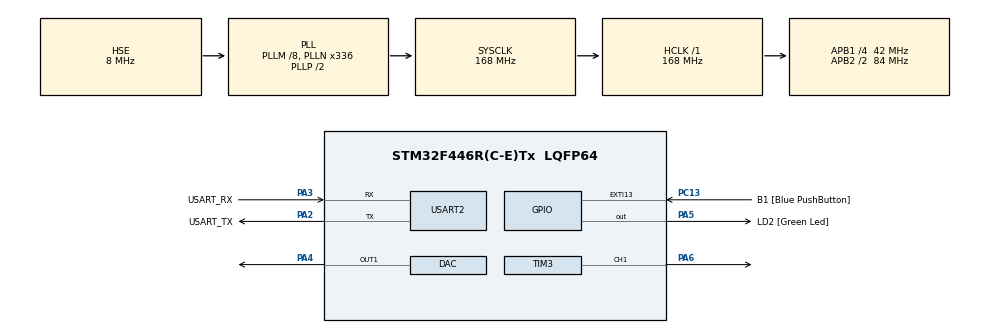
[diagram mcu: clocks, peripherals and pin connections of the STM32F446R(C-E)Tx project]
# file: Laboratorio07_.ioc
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Dma.DAC1.0.Direction=DMA_MEMORY_TO_PERIPH
Dma.DAC1.0.FIFOMode=DMA_FIFOMODE_DISABLE
Dma.DAC1.0.Instance=DMA1_Stream5
Dma.DAC1.0.MemDataAlignment=DMA_MDATAALIGN_HALFWORD
Dma.DAC1.0.MemInc=DMA_MINC_ENABLE
Dma.DAC1.0.Mode=DMA_CIRCULAR
Dma.DAC1.0.PeriphDataAlignment=DMA_PDATAALIGN_HALFWORD
Dma.DAC1.0.PeriphInc=DMA_PINC_DISABLE
Dma.DAC1.0.Priority=DMA_PRIORITY_HIGH
Dma.Request0=DAC1
Dma.Request1=TIM3_CH1/TRIG
Dma.TIM3_CH1/TRIG.1.Direction=DMA_PERIPH_TO_MEMORY
Dma.TIM3_CH1/TRIG.1.FIFOMode=DMA_FIFOMODE_DISABLE
Dma.TIM3_CH1/TRIG.1.Instance=DMA1_Stream4
Dma.TIM3_CH1/TRIG.1.MemDataAlignment=DMA_MDATAALIGN_HALFWORD
Dma.TIM3_CH1/TRIG.1.MemInc=DMA_MINC_ENABLE
Dma.TIM3_CH1/TRIG.1.Mode=DMA_CIRCULAR
Dma.TIM3_CH1/TRIG.1.PeriphDataAlignment=DMA_PDATAALIGN_HALFWORD
Dma.TIM3_CH1/TRIG.1.PeriphInc=DMA_PINC_DISABLE
Dma.TIM3_CH1/TRIG.1.Priority=DMA_PRIORITY_HIGH
Mcu.Family=STM32F4
Mcu.Name=STM32F446R(C-E)Tx
Mcu.Package=LQFP64
NVIC.DMA1_Stream4_IRQn=true\:0\:0\:false\:false\:true\:false\:true\:true
NVIC.DMA1_Stream5_IRQn=true\:0\:0\:false\:false\:true\:false\:true\:true
NVIC.PriorityGroup=NVIC_PRIORITYGROUP_0
NVIC.USART2_IRQn=true\:0\:0\:false\:false\:true\:true\:true\:true
PA13.GPIO_Label=TMS
PA13.Signal=SYS_JTMS-SWDIO
PA14.GPIO_Label=TCK
PA14.Signal=SYS_JTCK-SWCLK
PA2.GPIO_Label=USART_TX
PA2.Mode=Asynchronous
PA2.Signal=USART2_TX
PA3.GPIO_Label=USART_RX
PA3.Mode=Asynchronous
PA3.Signal=USART2_RX
PA4.Signal=COMP_DAC1_group
PA5.GPIO_Label=LD2 [Green Led]
PA5.Signal=GPIO_Output
PA6.Signal=S_TIM3_CH1
PB3.GPIO_Label=SWO
PB3.Signal=SYS_JTDO-SWO
PC13.GPIO_Label=B1 [Blue PushButton]
PC13.GPIO_ModeDefaultEXTI=GPIO_MODE_IT_FALLING
PC13.Signal=GPXTI13
PC14-OSC32_IN.Signal=RCC_OSC32_IN
PC15-OSC32_OUT.Signal=RCC_OSC32_OUT
PH0-OSC_IN.Mode=HSE-External-Oscillator
PH0-OSC_IN.Signal=RCC_OSC_IN
PH1-OSC_OUT.Mode=HSE-External-Oscillator
PH1-OSC_OUT.Signal=RCC_OSC_OUT
ProjectManager.HeapSize=0x200
ProjectManager.StackSize=0x400
ProjectManager.TargetToolchain=STM32CubeIDE
RCC.AHBFreq_Value=168000000
RCC.APB1CLKDivider=RCC_HCLK_DIV4
RCC.APB1Freq_Value=42000000
RCC.APB1TimFreq_Value=84000000
RCC.APB2CLKDivider=RCC_HCLK_DIV2
RCC.APB2Freq_Value=84000000
RCC.APB2TimFreq_Value=168000000
RCC.CortexFreq_Value=168000000
RCC.FLatency-AdvancedSettings=FLASH_LATENCY_5
RCC.HCLKFreq_Value=168000000
RCC.HSE_VALUE=8000000
RCC.HSI_VALUE=16000000
RCC.LSE_VALUE=32768
RCC.PLLM=8
RCC.PLLN=336
RCC.PLLSourceVirtual=RCC_PLLSOURCE_HSE
RCC.SYSCLKFreq_VALUE=168000000
RCC.SYSCLKSource=RCC_SYSCLKSOURCE_PLLCLK
RCC.USBFreq_Value=168000000
RCC.VCOOutputFreq_Value=336000000
SH.COMP_DAC1_group.0=DAC_OUT1,DAC_OUT1
SH.S_TIM3_CH1.0=TIM3_CH1,PWM Generation1 CH1
TIM3.Channel-PWM\ Generation1\ CH1=TIM_CHANNEL_1
TIM3.Period=839
TIM6.Prescaler=83
TIM6.TIM_MasterOutputTrigger=TIM_TRGO_UPDATE
USART2.VirtualMode=VM_ASYNC
VP_TIM3_VS_ClockSourceINT.Mode=Internal
VP_TIM6_VS_ClockSourceINT.Mode=Enable_Timer
board=NUCLEO-F446RE

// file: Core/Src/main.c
/* USER CODE BEGIN Header */
/**
  ******************************************************************************
  * @file           : main.c
  * @brief          : Main program body
  ******************************************************************************
  * @attention
  *
  * Copyright (c) 2026 STMicroelectronics.
  * All rights reserved.
  *
  * This software is licensed under terms that can be found in the LICENSE file
  * in the root directory of this software component.
  * If no LICENSE file comes with this software, it is provided AS-IS.
  *
  ******************************************************************************
  */
/* USER CODE END Header */
#include "main.h"

/* USER CODE BEGIN Includes */
#include <math.h>
#include <string.h>
/* USER CODE END Includes */

DAC_HandleTypeDef hdac;
DMA_HandleTypeDef hdma_dac1;

TIM_HandleTypeDef htim3;
TIM_HandleTypeDef htim6;
DMA_HandleTypeDef hdma_tim3_ch1_trig;

UART_HandleTypeDef huart2;

/* USER CODE BEGIN PV */
#define BATMAN_ext 19
const uint16_t BATMAN_notas[BATMAN_ext] = {988, 988, 932, 932, 880, 880, 932, 932, 988, 988, 932, 932, 880, 880, 932, 932, 988, 0, 988};
const uint16_t BATMAN_duracion[BATMAN_ext] = {167, 167, 167, 167, 167, 167, 167, 167, 167, 167, 167, 167, 167, 167, 167, 167, 333, 167, 333};

#define BEVERLY_LEN 23
const uint16_t BEVERLY_notas[BEVERLY_LEN] = {
    1319, 1568, 1319, 1319, 1760, 1319, 1175, 1319,
    1976, 1319, 1319, 2093, 1976, 1568, 1319, 1976,
    2637, 1319, 1175, 1175, 988, 1480, 1319
};
const uint16_t BEVERLY_duracion[BEVERLY_LEN] = {
    480, 360, 240, 120, 240, 240, 240, 480,
    360, 240, 120, 240, 240, 240, 240, 240,
    240, 120, 240, 120, 240, 240, 720
};

volatile uint8_t cmd_received = 0;
uint8_t rx_data;
/* USER CODE END PV */

void SystemClock_Config(void);
static void MX_GPIO_Init(void);
static void MX_DMA_Init(void);
static void MX_DAC_Init(void);
static void MX_USART2_UART_Init(void);
static void MX_TIM3_Init(void);
static void MX_TIM6_Init(void);

/* USER CODE BEGIN 0 */

// Retardo en microsegundos usando DWT
void DWT_Init(void) {
    CoreDebug->DEMCR |= CoreDebug_DEMCR_TRCENA_Msk;
    DWT->CYCCNT = 0;
    DWT->CTRL |= DWT_CTRL_CYCCNTENA_Msk;
}

void delay_us(uint32_t us) {
    uint32_t start = DWT->CYCCNT;
    uint32_t ticks = us * (SystemCoreClock / 1000000U);
    while ((DWT->CYCCNT - start) < ticks);
}

void Play_Tone(uint16_t freq, uint16_t duration_ms) {
    const uint32_t sample_rate = 16000;
    const uint32_t sample_period_us = 1000000 / sample_rate;
    const float amplitude = 1200.0f;                     // Amplitud reducida (evita saturación)

    if (freq == 0) {
        HAL_DAC_SetValue(&hdac, DAC_CHANNEL_1, DAC_ALIGN_12B_R, 2048);
        HAL_Delay(duration_ms);
        return;
    }

    uint32_t num_samples = ((uint32_t)duration_ms * sample_rate) / 1000U;
    for (uint32_t i = 0; i < num_samples; i++) {
        float value = sinf(2.0f * 3.14159265f * freq * i / sample_rate);
        uint16_t dac_val = (uint16_t)(2048.0f + (value * amplitude));
        HAL_DAC_SetValue(&hdac, DAC_CHANNEL_1, DAC_ALIGN_12B_R, dac_val);
        delay_us(sample_period_us);
    }
}

// Reproducir una nota con PWM 16 kHz
void Play_Tone_PWM(uint16_t freq, uint16_t duration_ms) {
    const uint32_t sample_rate = 16000;
    const uint32_t sample_period_us = 1000000 / sample_rate;
    const float amplitude = 380.0f;
    const uint16_t pwm_center = 419;

    if (freq == 0) {
        // PWM al 50%
        __HAL_TIM_SET_COMPARE(&htim3, TIM_CHANNEL_1, pwm_center);
        HAL_Delay(duration_ms);
        return;
    }

    uint32_t num_samples = ((uint32_t)duration_ms * sample_rate) / 1000U;
    for (uint32_t i = 0; i < num_samples; i++) {
        float value = sinf(2.0f * 3.14159265f * freq * i / sample_rate);
        uint16_t pwm_val = (uint16_t)((float)pwm_center + (value * amplitude));
        __HAL_TIM_SET_COMPARE(&htim3, TIM_CHANNEL_1, pwm_val);
        delay_us(sample_period_us);
    }
}

// Reproduce la melodía completa de Batman (DAC)
void Play_Melody(void) {
    HAL_GPIO_WritePin(LD2_GPIO_Port, LD2_Pin, GPIO_PIN_SET);   // LED encendido
    for (int i = 0; i < BATMAN_ext; i++) {
        Play_Tone(BATMAN_notas[i], BATMAN_duracion[i]);
    }
    HAL_GPIO_WritePin(LD2_GPIO_Port, LD2_Pin, GPIO_PIN_RESET); // LED apagado
}

// Reproduce la melodía Beverly Hills Cop (PWM)
void Play_Beverly(void) {
    HAL_GPIO_WritePin(LD2_GPIO_Port, LD2_Pin, GPIO_PIN_SET);   // LED encendido
    for (int i = 0; i < BEVERLY_LEN; i++) {
        Play_Tone_PWM(BEVERLY_notas[i], BEVERLY_duracion[i]);
    }
    HAL_GPIO_WritePin(LD2_GPIO_Port, LD2_Pin, GPIO_PIN_RESET); // LED apagado
}
/* USER CODE END 0 */

int main(void)
{

  /* MCU Configuration--------------------------------------------------------*/

  /* Reset of all peripherals, Initializes the Flash interface and the Systick. */
  HAL_Init();

  /* Configure the system clock */
  SystemClock_Config();

  /* Initialize all configured peripherals */
  MX_GPIO_Init();
  MX_DMA_Init();
  MX_DAC_Init();
  MX_USART2_UART_Init();
  MX_TIM3_Init();
  MX_TIM6_Init();
  /* USER CODE BEGIN 2 */
  DWT_Init();                                 // Inicializar DWT para delay_us
  HAL_DAC_Start(&hdac, DAC_CHANNEL_1);        // Arrancar DAC canal 1
  HAL_TIM_PWM_Start(&htim3, TIM_CHANNEL_1);   // Arrancar PWM canal 1 (TIM3 CH1 -> PA6)
  __HAL_TIM_SET_COMPARE(&htim3, TIM_CHANNEL_1, 419);
  HAL_UART_Receive_IT(&huart2, &rx_data, 1);  // Escuchar UART por interrupción

  const char *menu = "\r\n ==== LABORATORIO 07 ==== MP3 === \r\n"
                     "  '1' -> Batman (DAC)\r\n"
                     "  '2' -> Beverly Hills Cop (PWM)\r\n"
                     "Seleccionar  opcion: ";
  HAL_UART_Transmit(&huart2, (uint8_t*)menu, strlen(menu), HAL_MAX_DELAY);
  /* USER CODE END 2 */

  /* Infinite loop */
  while (1)
  {

    /* USER CODE BEGIN 3 */
    if (cmd_received) {
        cmd_received = 0;
        if (rx_data == '1') {
            Play_Melody();
            HAL_UART_Transmit(&huart2, (uint8_t*)"\r\nFin.\r\n", strlen("\r\nFin.\r\n"), HAL_MAX_DELAY);
        } else if (rx_data == '2') {
            Play_Beverly();
            HAL_UART_Transmit(&huart2, (uint8_t*)"\r\nFin.\r\n", strlen("\r\nFin.\r\n"), HAL_MAX_DELAY);
        } else {
            HAL_UART_Transmit(&huart2, (uint8_t*)"\r\nIntentalo nuevamente :(\r\n", strlen("\r\nIntentalo nuevamente :(\r\n"), HAL_MAX_DELAY);
        }
        HAL_UART_Transmit(&huart2, (uint8_t*)menu, strlen(menu), HAL_MAX_DELAY);
    }
  }
  /* USER CODE END 3 */
}

void SystemClock_Config(void)
{
  RCC_OscInitTypeDef RCC_OscInitStruct = {0};
  RCC_ClkInitTypeDef RCC_ClkInitStruct = {0};

  /** Configure the main internal regulator output voltage
  */
  __HAL_RCC_PWR_CLK_ENABLE();
  __HAL_PWR_VOLTAGESCALING_CONFIG(PWR_REGULATOR_VOLTAGE_SCALE1);

  /** Initializes the RCC Oscillators according to the specified parameters
  * in the RCC_OscInitTypeDef structure.
  */
  RCC_OscInitStruct.OscillatorType = RCC_OSCILLATORTYPE_HSE;
  RCC_OscInitStruct.HSEState = RCC_HSE_ON;
  RCC_OscInitStruct.PLL.PLLState = RCC_PLL_ON;
  RCC_OscInitStruct.PLL.PLLSource = RCC_PLLSOURCE_HSE;
  RCC_OscInitStruct.PLL.PLLM = 8;
  RCC_OscInitStruct.PLL.PLLN = 336;
  RCC_OscInitStruct.PLL.PLLP = RCC_PLLP_DIV2;
  RCC_OscInitStruct.PLL.PLLQ = 2;
  RCC_OscInitStruct.PLL.PLLR = 2;
  if (HAL_RCC_OscConfig(&RCC_OscInitStruct) != HAL_OK)
  {
    Error_Handler();
  }

  /** Initializes the CPU, AHB and APB buses clocks
  */
  RCC_ClkInitStruct.ClockType = RCC_CLOCKTYPE_HCLK|RCC_CLOCKTYPE_SYSCLK
                              |RCC_CLOCKTYPE_PCLK1|RCC_CLOCKTYPE_PCLK2;
  RCC_ClkInitStruct.SYSCLKSource = RCC_SYSCLKSOURCE_PLLCLK;
  RCC_ClkInitStruct.AHBCLKDivider = RCC_SYSCLK_DIV1;
  RCC_ClkInitStruct.APB1CLKDivider = RCC_HCLK_DIV4;
  RCC_ClkInitStruct.APB2CLKDivider = RCC_HCLK_DIV2;

  if (HAL_RCC_ClockConfig(&RCC_ClkInitStruct, FLASH_LATENCY_5) != HAL_OK)
  {
    Error_Handler();
  }
}

static void MX_DAC_Init(void)
{

  DAC_ChannelConfTypeDef sConfig = {0};

  /** DAC Initialization
  */
  hdac.Instance = DAC;
  if (HAL_DAC_Init(&hdac) != HAL_OK)
  {
    Error_Handler();
  }

  /** DAC channel OUT1 config
  */
  sConfig.DAC_Trigger = DAC_TRIGGER_NONE;
  sConfig.DAC_OutputBuffer = DAC_OUTPUTBUFFER_ENABLE;
  if (HAL_DAC_ConfigChannel(&hdac, &sConfig, DAC_CHANNEL_1) != HAL_OK)
  {
    Error_Handler();
  }

}

static void MX_TIM3_Init(void)
{

  TIM_ClockConfigTypeDef sClockSourceConfig = {0};
  TIM_MasterConfigTypeDef sMasterConfig = {0};
  TIM_OC_InitTypeDef sConfigOC = {0};

  htim3.Instance = TIM3;
  htim3.Init.Prescaler = 0;
  htim3.Init.CounterMode = TIM_COUNTERMODE_UP;
  htim3.Init.Period = 839;
  htim3.Init.ClockDivision = TIM_CLOCKDIVISION_DIV1;
  htim3.Init.AutoReloadPreload = TIM_AUTORELOAD_PRELOAD_ENABLE;
  if (HAL_TIM_Base_Init(&htim3) != HAL_OK)
  {
    Error_Handler();
  }
  sClockSourceConfig.ClockSource = TIM_CLOCKSOURCE_INTERNAL;
  if (HAL_TIM_ConfigClockSource(&htim3, &sClockSourceConfig) != HAL_OK)
  {
    Error_Handler();
  }
  if (HAL_TIM_PWM_Init(&htim3) != HAL_OK)
  {
    Error_Handler();
  }
  sMasterConfig.MasterOutputTrigger = TIM_TRGO_RESET;
  sMasterConfig.MasterSlaveMode = TIM_MASTERSLAVEMODE_DISABLE;
  if (HAL_TIMEx_MasterConfigSynchronization(&htim3, &sMasterConfig) != HAL_OK)
  {
    Error_Handler();
  }
  sConfigOC.OCMode = TIM_OCMODE_PWM1;
  sConfigOC.Pulse = 0;
  sConfigOC.OCPolarity = TIM_OCPOLARITY_HIGH;
  sConfigOC.OCFastMode = TIM_OCFAST_DISABLE;
  if (HAL_TIM_PWM_ConfigChannel(&htim3, &sConfigOC, TIM_CHANNEL_1) != HAL_OK)
  {
    Error_Handler();
  }
  HAL_TIM_MspPostInit(&htim3);

}

static void MX_TIM6_Init(void)
{

  TIM_MasterConfigTypeDef sMasterConfig = {0};

  htim6.Instance = TIM6;
  htim6.Init.Prescaler = 83;
  htim6.Init.CounterMode = TIM_COUNTERMODE_UP;
  htim6.Init.Period = 65535;
  htim6.Init.AutoReloadPreload = TIM_AUTORELOAD_PRELOAD_DISABLE;
  if (HAL_TIM_Base_Init(&htim6) != HAL_OK)
  {
    Error_Handler();
  }
  sMasterConfig.MasterOutputTrigger = TIM_TRGO_UPDATE;
  sMasterConfig.MasterSlaveMode = TIM_MASTERSLAVEMODE_DISABLE;
  if (HAL_TIMEx_MasterConfigSynchronization(&htim6, &sMasterConfig) != HAL_OK)
  {
    Error_Handler();
  }

}

static void MX_USART2_UART_Init(void)
{

  huart2.Instance = USART2;
  huart2.Init.BaudRate = 115200;
  huart2.Init.WordLength = UART_WORDLENGTH_8B;
  huart2.Init.StopBits = UART_STOPBITS_1;
  huart2.Init.Parity = UART_PARITY_NONE;
  huart2.Init.Mode = UART_MODE_TX_RX;
  huart2.Init.HwFlowCtl = UART_HWCONTROL_NONE;
  huart2.Init.OverSampling = UART_OVERSAMPLING_16;
  if (HAL_UART_Init(&huart2) != HAL_OK)
  {
    Error_Handler();
  }

}

static void MX_DMA_Init(void)
{

  /* DMA controller clock enable */
  __HAL_RCC_DMA1_CLK_ENABLE();

  /* DMA interrupt init */
  /* DMA1_Stream4_IRQn interrupt configuration */
  HAL_NVIC_SetPriority(DMA1_Stream4_IRQn, 0, 0);
  HAL_NVIC_EnableIRQ(DMA1_Stream4_IRQn);
  /* DMA1_Stream5_IRQn interrupt configuration */
  HAL_NVIC_SetPriority(DMA1_Stream5_IRQn, 0, 0);
  HAL_NVIC_EnableIRQ(DMA1_Stream5_IRQn);

}

static void MX_GPIO_Init(void)
{
  GPIO_InitTypeDef GPIO_InitStruct = {0};

  /* GPIO Ports Clock Enable */
  __HAL_RCC_GPIOC_CLK_ENABLE();
  __HAL_RCC_GPIOH_CLK_ENABLE();
  __HAL_RCC_GPIOA_CLK_ENABLE();
  __HAL_RCC_GPIOB_CLK_ENABLE();

  /*Configure GPIO pin Output Level */
  HAL_GPIO_WritePin(LD2_GPIO_Port, LD2_Pin, GPIO_PIN_RESET);

  /*Configure GPIO pin : B1_Pin */
  GPIO_InitStruct.Pin = B1_Pin;
  GPIO_InitStruct.Mode = GPIO_MODE_IT_FALLING;
  GPIO_InitStruct.Pull = GPIO_NOPULL;
  HAL_GPIO_Init(B1_GPIO_Port, &GPIO_InitStruct);

  /*Configure GPIO pin : LD2_Pin */
  GPIO_InitStruct.Pin = LD2_Pin;
  GPIO_InitStruct.Mode = GPIO_MODE_OUTPUT_PP;
  GPIO_InitStruct.Pull = GPIO_NOPULL;
  GPIO_InitStruct.Speed = GPIO_SPEED_FREQ_LOW;
  HAL_GPIO_Init(LD2_GPIO_Port, &GPIO_InitStruct);

}

/* USER CODE BEGIN 4 */
void HAL_UART_RxCpltCallback(UART_HandleTypeDef *huart) {
    if (huart->Instance == USART2) {
        // ECHO: devolver el carácter recibido para que se vea en la terminal
        HAL_UART_Transmit(&huart2, &rx_data, 1, HAL_MAX_DELAY);

        cmd_received = 1;
        HAL_UART_Receive_IT(&huart2, &rx_data, 1);
    }
}
/* USER CODE END 4 */

void Error_Handler(void)
{
  __disable_irq();
  while (1)
  {
  }
}
